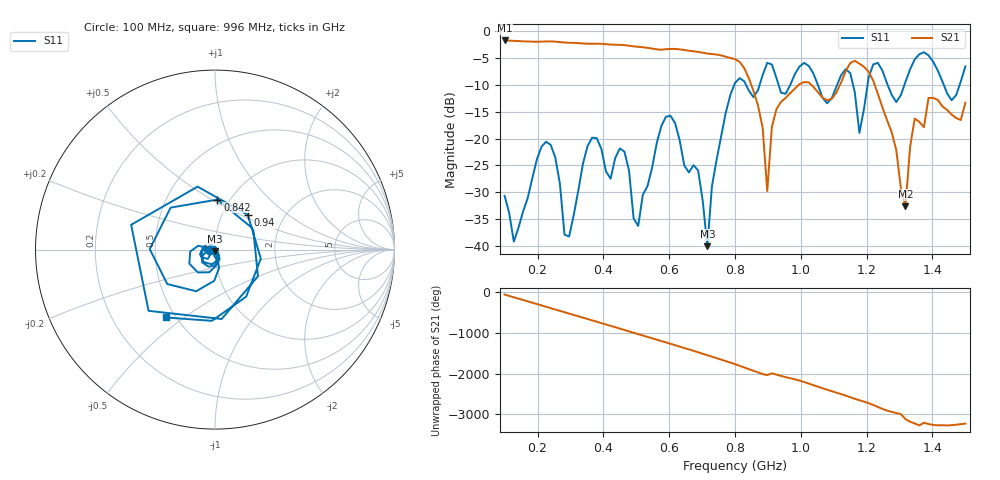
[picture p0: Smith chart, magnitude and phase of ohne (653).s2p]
! NanoVNA-App
! Date: 2025-09-25 14:25:53
! Start: 100MHz Stop: 1,5GHz Points: 101
! S-Parameter data: F S11 S21 S12 S22
# Hz S RI R 50
!  Frequency  S11_Real  S11_Imag  S21_Real  S21_Imag  S12_Real  S12_Imag  S22_Real  S22_Imag
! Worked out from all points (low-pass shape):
!   101 points, 100 MHz to 1.5 GHz, reference 50 ohm
!   highest |S21| = -1.79 dB at 100 MHz (marker M1); lowest = -32.6 dB at 1.318 GHz (marker M2)
!   |S21| within 3 dB of the highest: start of sweep to 770.9 MHz
!   lowest |S11| = -40.0 dB at 716 MHz (marker M3), VSWR 1.02, Z = 49.7 - j0.962 ohm
!   |S11| at or under -10 dB: start of sweep to 798 MHz; 833.2 MHz to 875 MHz (41.88 MHz wide, 4.9 % of centre); 1.052 GHz to 1.111 GHz (58.92 MHz wide, 5.45 % of centre) (the widest 3 of 7)
!   S12 and S22 are empty: the file has one direction only
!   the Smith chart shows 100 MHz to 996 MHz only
!   S11 on the Smith chart (normalised r, x): 100 MHz: 0.94, -0.01; 842 MHz: 0.88, +0.53; 940 MHz: 1.32, +0.55; 996 MHz: 0.44, -0.43
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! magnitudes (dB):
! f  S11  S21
! 100 MHz  -30.6  -1.8
! 128 MHz  -39.1  -1.9
! 226 MHz  -20.6  -2.0
! 296 MHz  -38.2  -2.2
! 338 MHz  -24.7  -2.3
! 464 MHz  -22.4  -2.7
! 506 MHz  -36.2  -3.0
! 576 MHz  -17.7  -3.5
! 688 MHz  -25.9  -3.9
! 716 MHz  -40.0  -4.2
! 800 MHz  -9.7  -5.3
! 842 MHz  -11.1  -8.8
! 898 MHz  -6.0  -29.8
! 940 MHz  -11.5  -13.2
! 996 MHz  -6.6  -9.9
! 1.038 GHz  -7.9  -10.4
! 1.164 GHz  -11.4  -5.6
! 1.178 GHz  -19.0  -6.1
! 1.276 GHz  -11.9  -18.8
! 1.318 GHz  -9.5  -32.6
! 1.346 GHz  -5.3  -16.3
! 1.5 GHz  -6.6  -13.3
